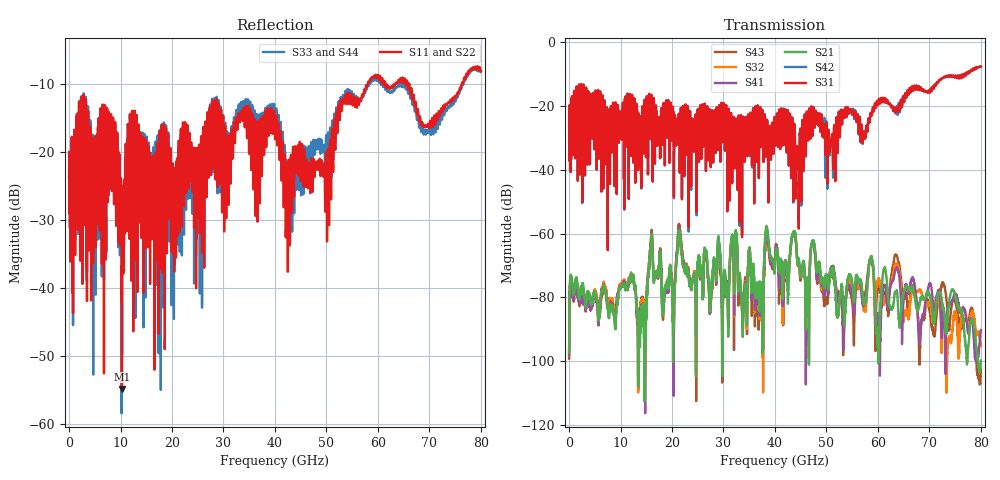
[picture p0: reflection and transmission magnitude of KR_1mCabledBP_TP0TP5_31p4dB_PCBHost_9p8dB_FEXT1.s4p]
!! Reference: shanbhag_3dj_02_2305.pdf
!! CHANNEL DESCRIPTION: TP0_TP5 KR Channel using 1meter Cabled BP, PCB Host
!! CABLE DESCRIPTION: 1meter 26AWG Cable
!! MODEL STATUS: Developmental
!! PORT DEFINITIONS:
!! Port  1  ----->  Side A  Side B  <-----  Port  2
!! Port  3  ----->  Side A  Side B  <-----  Port  4
# HZ S MA R 50.000000
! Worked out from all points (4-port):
!   8000 points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, 10 MHz to 80 GHz, reference 50 ohm
!   strongest paths, dB at 10 MHz, 20.01 GHz, 40.01 GHz, 60.01 GHz, 80 GHz:
!     S31: -26.8, -30.2, -25.0, -19.7, -7.6
!     S42: -26.8, -30.2, -24.9, -18.9, -7.6
!     S21: -97.3, -78.9, -70.6, -91.2, -99.8
!     S41: -98.2, -76.7, -68.6, -85.0, -90.2
!     S32: -98.3, -76.6, -68.5, -74.4, -95.1
!     S43: -99.2, -75.3, -67.3, -76.7, -102.5
!   lowest |S11| = -54.9 dB at 10.28 GHz (marker M1), VSWR 1.00, Z = 50.1 + j0.1 ohm
!   |S11| at or under -10 dB: start of sweep to 58 GHz; 61.35 GHz to 63.37 GHz (2.019 GHz wide, 3.24 % of centre); 66.08 GHz to 76.27 GHz (10.18 GHz wide, 14.3 % of centre) (the widest 3 of 7)
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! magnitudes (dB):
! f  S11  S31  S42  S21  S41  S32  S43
! 10 MHz  -23.8  -26.8  -26.8  -97.3  -98.2  -98.3  -99.2
! 10.28 GHz  -54.9  -27.0  -27.0  -76.4  -76.1  -75.2  -76.0
! 20.27 GHz  -25.8  -25.7  -25.6  -88.6  -88.9  -91.5  -86.4
! 21.4 GHz  -19.6  -24.0  -24.1  -59.4  -58.5  -58.6  -57.5
! 27.43 GHz  -15.6  -27.4  -27.4  -83.1  -84.4  -83.0  -84.4
! 44.33 GHz  -19.4  -32.6  -32.6  -69.1  -68.6  -68.4  -68.4
! 80 GHz  -8.2  -7.6  -7.6  -99.8  -90.2  -95.1  -102.5
